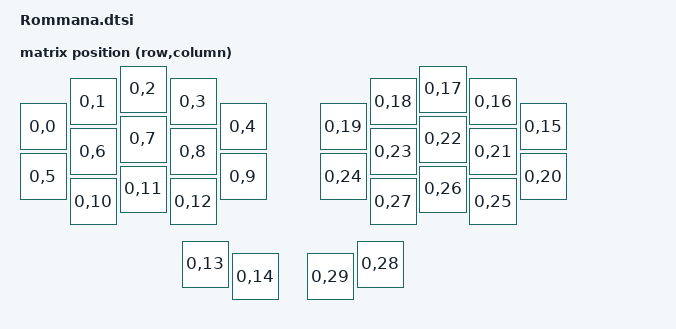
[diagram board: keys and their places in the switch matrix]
/*
 * Copyright (c) 2021 The ZMK Contributors
 *
 * SPDX-License-Identifier: MIT
 */

#include <dt-bindings/zmk/matrix_transform.h>
#include <physical_layouts.dtsi>

/ {

    chosen {
//        zmk,kscan = &kscan0;
//        zmk,matrix_transform = &default_transform;
        zmk,physical-layout = &default_layout;
    };

    default_transform: keymap_transform_0 {
        compatible = "zmk,matrix-transform";
        columns = <30>;
        rows = <1>;
        map = <
        //     0        1        2        3        4          5        6        7        8        9
            RC(0,0)  RC(0,1)  RC(0,2)  RC(0,3)  RC(0,4)    RC(0,19) RC(0,18) RC(0,17) RC(0,16) RC(0,15)
        //     10       11       12       13       14         15       16       17       18       19     
            RC(0,5)  RC(0,6)  RC(0,7)  RC(0,8)  RC(0,9)    RC(0,24) RC(0,23) RC(0,22) RC(0,21) RC(0,20)
        //              20       21       22                           23       24       25
                     RC(0,10) RC(0,11) RC(0,12)                     RC(0,27) RC(0,26) RC(0,25)
        //                                26       27         28       29 
                                       RC(0,13) RC(0,14)   RC(0,29) RC(0,28)
        >;
    };

    default_layout: default_layout {
        compatible = "zmk,physical-layout";
        display-name = "Default Layout";
        transform = <&default_transform>;
        kscan = <&kscan0>;

                keys  //                     w   h    x    y     rot    rx    ry
            = <&key_physical_attrs 100 100    0   75       0     0     0>
            , <&key_physical_attrs 100 100  100   25       0     0     0>
            , <&key_physical_attrs 100 100  200    0       0     0     0>
            , <&key_physical_attrs 100 100  300   25       0     0     0>
            , <&key_physical_attrs 100 100  400   75       0     0     0>
            , <&key_physical_attrs 100 100  600   75       0     0     0>
            , <&key_physical_attrs 100 100  700   25       0     0     0>
            , <&key_physical_attrs 100 100  800    0       0     0     0>
            , <&key_physical_attrs 100 100  900   25       0     0     0>
            , <&key_physical_attrs 100 100 1000   75       0     0     0>
            , <&key_physical_attrs 100 100    0  175       0     0     0>
            , <&key_physical_attrs 100 100  100  125       0     0     0>
            , <&key_physical_attrs 100 100  200  100       0     0     0>
            , <&key_physical_attrs 100 100  300  125       0     0     0>
            , <&key_physical_attrs 100 100  400  175       0     0     0>
            , <&key_physical_attrs 100 100  600  175       0     0     0>
            , <&key_physical_attrs 100 100  700  125       0     0     0>
            , <&key_physical_attrs 100 100  800  100       0     0     0>
            , <&key_physical_attrs 100 100  900  125       0     0     0>
            , <&key_physical_attrs 100 100 1000  175       0     0     0>
            , <&key_physical_attrs 100 100  100  225       0     0     0>
            , <&key_physical_attrs 100 100  200  200       0     0     0>
            , <&key_physical_attrs 100 100  300  225       0     0     0>
            , <&key_physical_attrs 100 100  700  225       0     0     0>
            , <&key_physical_attrs 100 100  800  200       0     0     0>
            , <&key_physical_attrs 100 100  900  225       0     0     0>
            , <&key_physical_attrs 100 100  325  350       0     0     0>
            , <&key_physical_attrs 100 100  425  375       0     0     0>
            , <&key_physical_attrs 100 100  575  375       0     0     0>
            , <&key_physical_attrs 100 100  675  350       0     0     0>
            ;

    };

};
